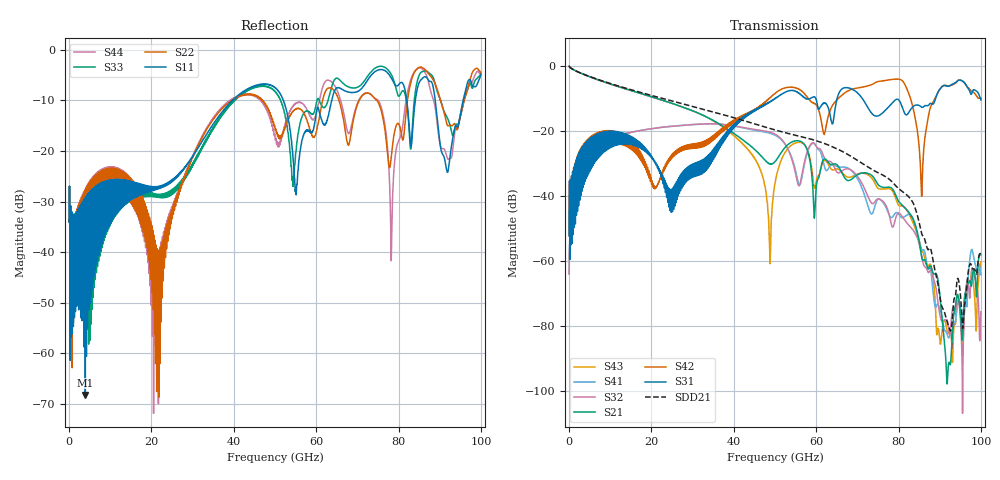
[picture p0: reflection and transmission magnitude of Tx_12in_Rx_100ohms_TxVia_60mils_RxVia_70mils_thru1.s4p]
! Info: Touchstone file created by Circ.  Input file=Tx_12in_Rx_100ohms_TxVia_60mils_RxVia_70mils.circ
# Hz S RI R 50
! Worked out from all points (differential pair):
!   10000 points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, 10 MHz to 100 GHz, reference 50 ohm
!   strongest paths, dB at 10 MHz, 25.01 GHz, 50.01 GHz, 75.01 GHz, 100 GHz:
!     S31: -52.3, -39.0, -10.1, -15.5, -10.5
!     S42: -52.3, -27.3, -8.5, -4.9, -10.0
!     S21: -0.2, -11.6, -29.5, -36.6, -58.2
!     S32: -64.1, -18.6, -21.1, -41.0, -75.8
!     S41: -64.1, -18.6, -21.4, -41.1, -64.4
!     S43: -0.2, -11.6, -36.3, -37.7, -60.4
!   taken as a pair (ports 1,3 in; 2,4 out), SDD21 dB: -0.2, -10.9, -19.8, -32.9, -57.9
!   lowest |S11| = -68.2 dB at 3.94 GHz (marker M1), VSWR 1.00, Z = 50 - j0.00849 ohm
!   |S11| at or under -10 dB: start of sweep to 39.7 GHz; 52 GHz to 63.79 GHz (11.79 GHz wide, 20.4 % of centre); 88.91 GHz to 95.7 GHz (6.794 GHz wide, 7.36 % of centre)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
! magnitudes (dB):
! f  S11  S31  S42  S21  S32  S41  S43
! 10 MHz  -34.0  -52.3  -52.3  -0.2  -64.1  -64.1  -0.2
! 3.94 GHz  -68.2  -35.6  -31.8  -2.9  -27.3  -27.3  -2.9
! 59.37 GHz  -15.6  -9.6  -11.6  -42.2  -23.8  -23.9  -36.3
! 78.41 GHz  -5.8  -11.6  -4.2  -37.8  -49.5  -46.8  -38.4
! 85.59 GHz  -5.8  -12.7  -40.1  -58.7  -58.5  -56.7  -56.4
! 91.21 GHz  -21.6  -6.1  -6.1  -86.1  -78.3  -81.4  -78.4
! 100 GHz  -5.0  -10.5  -10.0  -58.2  -75.8  -64.4  -60.4
